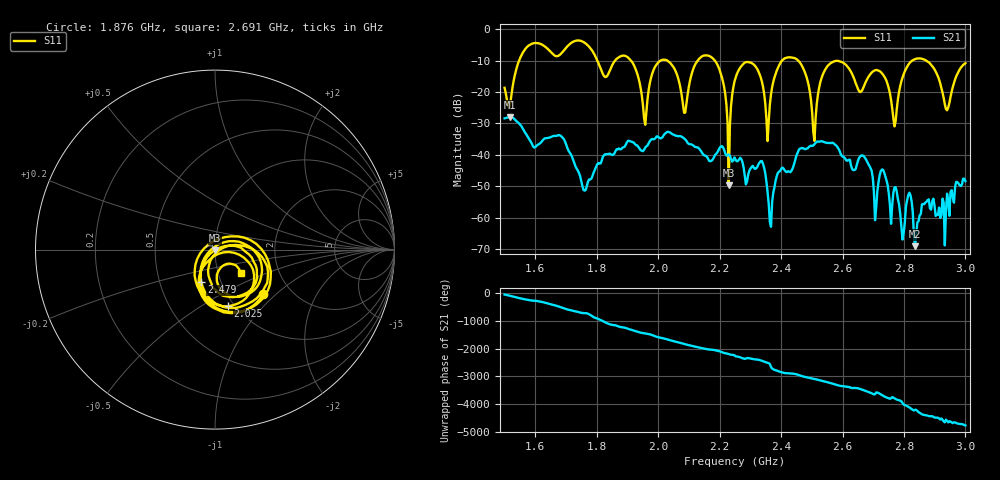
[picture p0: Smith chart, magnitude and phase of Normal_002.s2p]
# HZ S RI R 50
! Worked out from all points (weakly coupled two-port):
!   404 points, 1.5 GHz to 3 GHz, reference 50 ohm
!   highest |S21| = -27.90 dB at 1.519 GHz (marker M1); lowest = -69.0 dB at 2.836 GHz (marker M2)
!   lowest |S11| = -49.7 dB at 2.23 GHz (marker M3), VSWR 1.01, Z = 49.9 - j0.314 ohm
!   |S11| at or under -10 dB: 2.184 GHz to 2.403 GHz (218.9 MHz wide, 9.54 % of centre); 2.456 GHz to 2.827 GHz (371.4 MHz wide, 14.1 % of centre); 2.873 GHz to end of sweep (the widest 3 of 7)
!   S12 and S22 are empty: the file has one direction only
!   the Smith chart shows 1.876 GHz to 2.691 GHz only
!   S11 on the Smith chart (normalised r, x): 1.876 GHz: 1.45, -0.84; 2.025 GHz: 0.93, -0.66; 2.479 GHz: 0.81, -0.30; 2.691 GHz: 1.28, -0.35
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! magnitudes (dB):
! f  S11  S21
! 1.5 GHz  -18.7  -28.4
! 1.519 GHz  -23.5  -27.9
! 1.578 GHz  -5.2  -34.7
! 1.753 GHz  -3.9  -49.9
! 1.876 GHz  -8.7  -38.2
! 1.958 GHz  -30.4  -37.6
! 2.002 GHz  -10.4  -34.5
! 2.025 GHz  -9.8  -33.0
! 2.084 GHz  -26.6  -34.8
! 2.181 GHz  -9.6  -40.8
! 2.23 GHz  -49.7  -39.8
! 2.252 GHz  -15.5  -41.5
! 2.367 GHz  -20.7  -62.8
! 2.479 GHz  -14.1  -38.2
! 2.501 GHz  -26.6  -37.1
! 2.561 GHz  -10.9  -36.2
! 2.691 GHz  -14.2  -44.2
! 2.751 GHz  -18.8  -52.2
! 2.769 GHz  -30.9  -50.3
! 2.836 GHz  -9.5  -69.0
! 2.94 GHz  -25.8  -52.3
! 3 GHz  -10.8  -48.3
